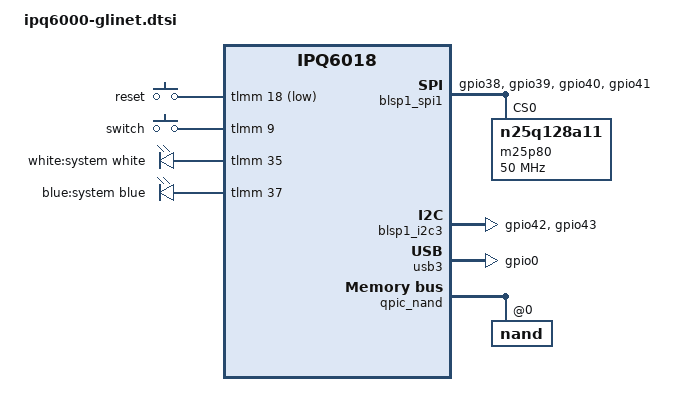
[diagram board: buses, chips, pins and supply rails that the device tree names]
// SPDX-License-Identifier: GPL-2.0-or-later OR MIT

#include "ipq6018.dtsi"
#include "ipq6018-common.dtsi"
#include "ipq6018-ess.dtsi"
#include "ipq6018-nss.dtsi"
#include "ipq6018-fixed-smps.dtsi"

#include <dt-bindings/gpio/gpio.h>
#include <dt-bindings/input/input.h>
#include <dt-bindings/leds/common.h>

/ {
	aliases {
		serial0 = &blsp1_uart3;

		led-boot = &led_system_white;
		led-failsafe = &led_system_white;
		led-running = &led_system_white;
		led-upgrade = &led_system_white;
	};

	chosen {
		stdout-path = "serial0:115200n8";
		bootargs-append = " root=/dev/ubiblock0_1";
	};

	keys {
		compatible = "gpio-keys";

		reset {
			label = "reset";
			gpios = <&tlmm 18 GPIO_ACTIVE_LOW>;
			linux,code = <KEY_RESTART>;
		};

		switch {
			label = "switch";
			gpios = <&tlmm 9 GPIO_ACTIVE_HIGH>;
			linux,code = <KEY_WPS_BUTTON>;
		};
	};

	leds {
		compatible = "gpio-leds";

		led_system_white: system-white {
			label = "white:system";
			gpios = <&tlmm 35 GPIO_ACTIVE_HIGH>;
			color = <LED_COLOR_ID_WHITE>;
		};

		led_system_blue: system-blue {
			label = "blue:system";
			gpios = <&tlmm 37 GPIO_ACTIVE_HIGH>;
			color = <LED_COLOR_ID_BLUE>;
		};
	};
};

&tlmm {
	gpio-reserved-ranges = <20 1>;

	mdio_pins: mdio-pins {
		mdc {
			pins = "gpio64";
			function = "mdc";
			drive-strength = <8>;
			bias-pull-up;
		};

		mdio {
			pins = "gpio65";
			function = "mdio";
			drive-strength = <8>;
			bias-pull-up;
		};

		mux_2 {
			pins = "gpio74";
			function = "gpio";
			bias-pull-up;
		};
	};

	usb_power_pins: usb-power-pins {
		mux {
			pins = "gpio0";
			function = "gpio";
			bias-pull-up;
			output-high;
		};
	};

	spi_1_pins: spi-1-pins {
		mux {
			pins = "gpio38", "gpio39", "gpio40", "gpio41";
			function = "blsp0_spi";
			drive-strength = <8>;
			bias-pull-down;
		};
	};

	i2c_1_pins: i2c-1-pins {
		mux {
			pins = "gpio42", "gpio43";
			function = "blsp2_i2c";
			drive-strength = <8>;
			bias-pull-down;
		};
	};
};

&blsp1_spi1 {
	status = "okay";

	pinctrl-0 = <&spi_1_pins>;
	pinctrl-names = "default";
	cs-select = <0>;

	m25p80@0 {
		#address-cells = <1>;
		#size-cells = <1>;
		reg = <0>;
		compatible = "n25q128a11";
		linux,modalias = "m25p80", "n25q128a11";
		spi-max-frequency = <50000000>;
		use-default-sizes;
	};
};

&blsp1_i2c3 {
	pinctrl-0 = <&i2c_1_pins>;
	pinctrl-names = "default";
	status = "okay";
};

&usb3 {
	pinctrl-0 = <&usb_power_pins>;
	pinctrl-names = "default";
	status = "okay";
};

&qpic_nand {
	status = "okay";

	nand@0 {
		reg = <0>;
		nand-ecc-strength = <4>;
		nand-ecc-step-size = <512>;
		nand-bus-width = <8>;

		partitions {
			compatible = "qcom,smem-part";
		};
	};
};

&edma {
	status = "okay";
};

&cpu_opp_table {
	/delete-node/ opp-1608000000;
	/delete-node/ opp-1800000000;
};
